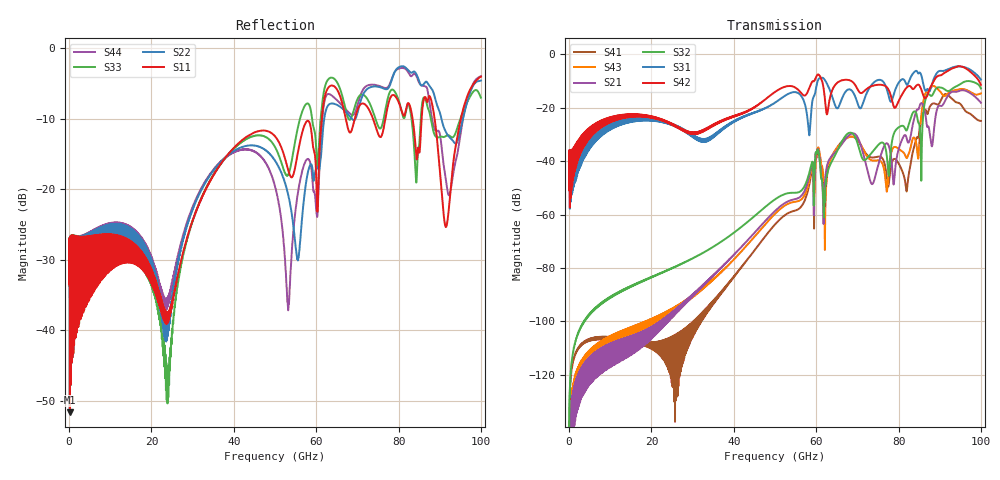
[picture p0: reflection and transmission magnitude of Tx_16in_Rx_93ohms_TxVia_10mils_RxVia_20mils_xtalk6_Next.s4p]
! Info: Touchstone file created by Circ.  Input file=Tx_16in_Rx_93ohms_TxVia_10mils_RxVia_20mils.circ
# Hz S RI R 50
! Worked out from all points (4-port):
!   10000 points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, 10 MHz to 100 GHz, reference 50 ohm
!   strongest paths, dB at 10 MHz, 25.01 GHz, 50.01 GHz, 75.01 GHz, 100 GHz:
!     S42: -50.9, -26.3, -14.1, -11.4, -11.4
!     S31: -50.9, -26.5, -18.1, -9.6, -9.5
!     S32: -144.8, -80.0, -54.3, -34.0, -12.8
!     S21: -160.8, -96.5, -58.7, -41.7, -18.1
!     S43: -146.8, -95.3, -59.7, -39.7, -14.7
!     S41: -145.0, -105.8, -63.7, -38.3, -25.0
!   lowest |S11| = -51.6 dB at 200 MHz (marker M1), VSWR 1.01, Z = 49.8 - j0.131 ohm
!   |S11| at or under -10 dB: start of sweep to 61.37 GHz; 73.82 GHz to 76.81 GHz (2.99 GHz wide, 3.97 % of centre); 88.77 GHz to 95.13 GHz (6.356 GHz wide, 6.91 % of centre)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
1e7  0.021 -0.00296  5.56e-09 7.28e-09  0.000666 0.00277  1.88e-08 5.28e-08
     5.56e-09 7.28e-09  0.021 -0.00296  -5.18e-10 5.78e-08  0.000662 0.00277
     0.000666 0.00277  -5.18e-10 5.78e-08  0.0206 -0.00295  -6.3e-09 4.53e-08
     1.88e-08 5.28e-08  0.000662 0.00277  -6.3e-09 4.53e-08  0.0206 -0.00295
2e8  -0.00226 -0.00132  2.45e-08 1.18e-07  0.00145 0.00277  1.04e-07 4.78e-07
     2.45e-08 1.18e-07  -0.00229 -0.00125  6.71e-08 5.65e-07  0.00144 0.00281
     0.00145 0.00277  6.71e-08 5.65e-07  -0.00223 -0.0013  3.33e-08 1.62e-07
     1.04e-07 4.78e-07  0.00144 0.00281  3.33e-08 1.62e-07  -0.00227 -0.00123
2.398e10  0.00166 0.0131  1.2e-05 4.2e-06  0.0187 -0.0476  -1.11e-07 4.4e-06
          1.2e-05 4.2e-06  -0.00817 -0.00439  8.18e-05 -4.26e-05  -0.0099 -0.0522
          0.0187 -0.0476  8.18e-05 -4.26e-05  3.48e-05 0.0051  1.42e-05 -4.65e-06
          -1.11e-07 4.4e-06  -0.0099 -0.0522  1.42e-05 -4.65e-06  -0.0123 -0.00829
3.788e10  0.0654 0.1539  5.18e-05 -0.000107  0.017 0.0396  2.46e-05 -3.37e-05
          5.18e-05 -0.000107  0.1438 0.0875  -2.96e-05 -0.000346  0.057 0.0192
          0.017 0.0396  -2.96e-05 -0.000346  0.0574 0.1564  -9.77e-06 -9.72e-05
          2.46e-05 -3.37e-05  0.057 0.0192  -9.77e-06 -9.72e-05  0.1412 0.0896
6.038e10  0.0597 -0.0451  0.0132 -0.0103  0.0133 0.3183  0.00919 -0.0129
          0.0132 -0.0103  0.1418 0.0155  0.0126 -0.0104  0.4179 -0.0194
          0.0133 0.3183  0.0126 -0.0104  0.0982 -0.1128  0.00947 -0.0147
          0.00919 -0.0129  0.4179 -0.0194  0.00947 -0.0147  0.0684 -0.0202
7.71e10  -0.1999 0.2902  -0.0215 -0.00129  0.0426 -0.2249  -0.00416 -0.00346
         -0.0215 -0.00129  0.2962 -0.4193  -0.00611 -0.012  -0.2408 0.0406
         0.0426 -0.2249  -0.00611 -0.012  -0.2289 0.3346  -0.00278 -7.39e-05
         -0.00416 -0.00346  -0.2408 0.0406  -0.00278 -7.39e-05  0.3274 -0.4099
1e11  -0.6295 0.0214  0.0977 -0.0761  0.0714 0.3288  -0.052 -0.022
      0.0977 -0.0761  -0.5906 0.0351  0.1184 0.1967  0.0996 0.2504
      0.0714 0.3288  0.1184 0.1967  -0.441 0.0753  0.1203 -0.1395
      -0.052 -0.022  0.0996 0.2504  0.1203 -0.1395  -0.6304 0.0836
